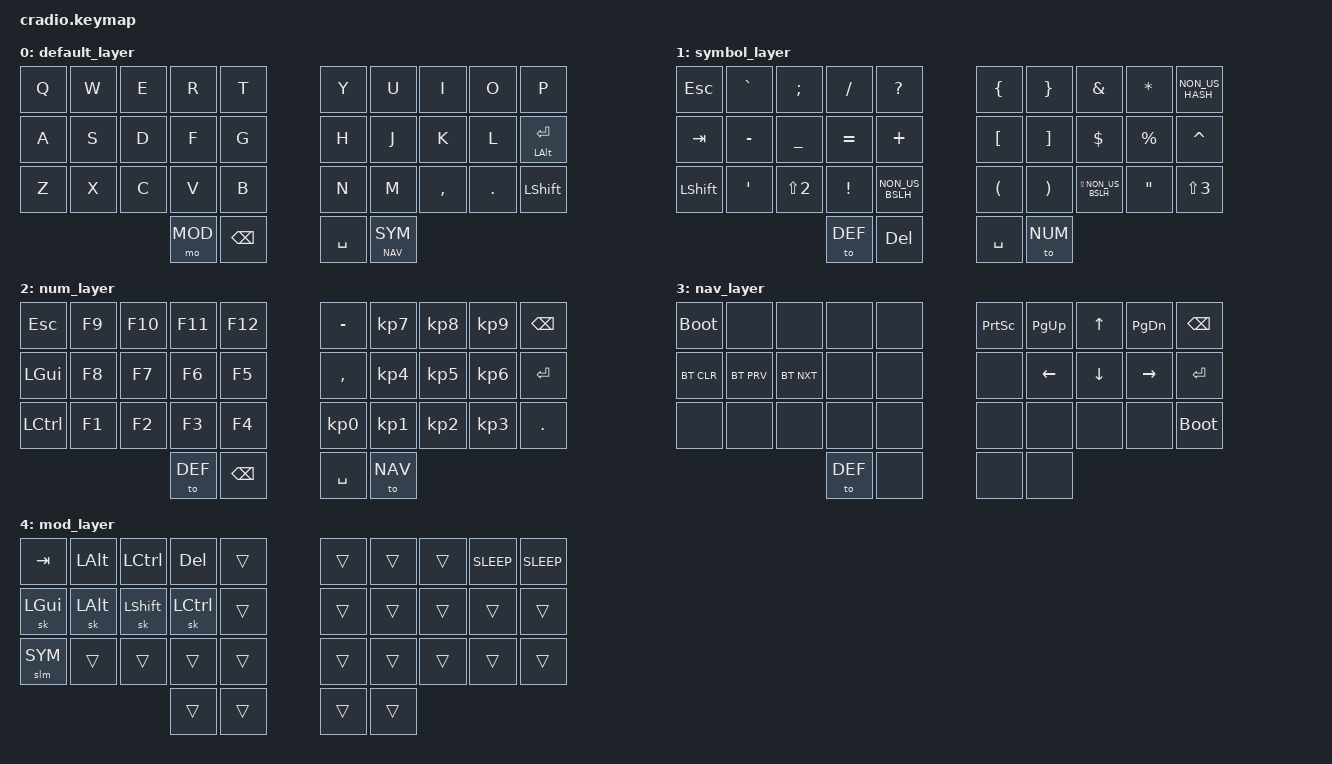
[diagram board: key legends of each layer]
/*
 * Copyright (c) 2020 The ZMK Contributors
 *
 * SPDX-License-Identifier: MIT
 */

#include <behaviors.dtsi>
#include <dt-bindings/zmk/keys.h>
#include <dt-bindings/zmk/bt.h>

#define DEF 0
#define SYM 1
#define NUM 2
#define NAV 3
#define MOD 4 

/ {
        behaviors {        
                Z_OSLSYM: tap_dance_0 {            
                        compatible = "zmk,behavior-tap-dance";            
                        label = "TAP_DANCE_OSLSYM";            
                        #binding-cells = <0>;            
                        tapping-term-ms = <200>;            
                        bindings = <&kp Z>, <&slm SYM>;        
                };    

                ly: layers {
                        compatible = "zmk,behavior-hold-tap";
                        label = "LAYERS TAP HOLD";
                        #binding-cells = <2>;
                        tapping-term-ms = <150>;
                        quick-tap-ms = <0>;
                        flavor = "tap-preferred";
                        bindings = <&mo>, <&to>;
                };

                slm: behavior_sticky_layer {
			compatible = "zmk,behavior-sticky-key";
			label = "STICKY_LAYER";
			#binding-cells = <1>;
			release-after-ms = <1000>;
			bindings = <&mo>;
			ignore-modifiers;
		};
        };

        combos {
                compatible = "zmk,combos";

                // both left thumb keys
                combo_OSLSYM {
                        timeout-ms = <200>;
                        key-positions = <30 31>;
                        bindings = <&slm SYM>;
                };
        };

        keymap {
                compatible = "zmk,keymap";

                default_layer {
// -----------------------------------------------------------------------------------------
// |  Q  |  W  |  E  |  R  |  T  |   |  Y  |  U   |  I  |  O  |  P  |
// |  A  |  S  |  D  |  F  |  G  |   |  H  |  J   |  K  |  L  |  ENTER |
// |  Z  |  X  |  C  |  V  |  B  |   |  N  |  M   |  ,  |  .  |  SHFT  |
//                   | MOD | BKSP|   | SPC | SYMNAV |
                        bindings = <
   &kp Q      &kp W &kp E &kp R &kp T   &kp Y &kp U  &kp I     &kp O   &kp P
   &kp A      &kp S &kp D &kp F &kp G   &kp H &kp J  &kp K     &kp L   &mt LALT ENTER
   &kp Z      &kp X &kp C &kp V &kp B   &kp N &kp M  &kp COMMA &kp DOT &kp LSHIFT
                          &mo MOD &kp BSPC   &kp SPACE &ly NAV SYM
                        >;
                };

                symbol_layer {
// -----------------------------------------------------------------------------------------
// | ESC |  `  |  ;  |  /  |  ?  |   |  {  |  }  |  &  |  *  |  #  |
// | TAB |  -  |  _  |  =  |  +  |   |  [  |  ]  |  $  |  %  |  ^  |
// | SHFT|  '  |  "  |  !  |  \  |   |  (  |  )  |  |  |  @  |  £  |
//                   | DEF | DEL |   | ENT | ALT |
                        bindings = <
   &kp ESC      &kp GRAVE  &kp SEMI   &kp FSLH   &kp QMARK        &kp LBRC   &kp RBRC   &kp AMPS              &kp STAR    &kp NON_US_HASH
   &kp TAB      &kp MINUS  &kp UNDER  &kp EQUAL  &kp PLUS         &kp LBKT   &kp RBKT   &kp DOLLAR            &kp PERCENT &kp CARET
   &kp LSHIFT   &kp APOS   &kp LS(N2) &kp EXCL   &kp NON_US_BSLH  &kp LPAR   &kp RPAR   &kp LS(NON_US_BSLH)   &kp DQT    &kp LS(N3)
                          	          &to DEF    &kp DEL          &kp SPACE  &to NUM
                        >;
                };

                num_layer {
// -----------------------------------------------------------------------------------------
// | ESC  |  F9  |  F10  |  F11  |  F12  |   |  MINUS  |  KP_N7  |  KP_N8  |  KP_N9  |  BSPC  |
// | LGUI |  F8  |  F7   |  F6   |  F5   |   |  COMMA  |  KP_N4  |  KP_N5  |  KP_N6  |  ENTER |
// | LCTRL|  F1  |  F2   |  F3   |  F4   |   |  KP_N0  |  KP_N1  |  KP_N2  |  KP_N3  |  DOT   |
//                       | DEF   |  BKSP |   |  SPC    |  NAV    |
                        bindings = <
   &kp ESC    &kp F9   &kp F10   &kp F11   &kp F12     &kp MINUS   &kp KP_N7  &kp KP_N8  &kp KP_N9  &kp BSPC 
   &kp LGUI   &kp F8   &kp F7    &kp F6    &kp F5      &kp COMMA   &kp KP_N4  &kp KP_N5  &kp KP_N6  &kp ENTER
   &kp LCTRL  &kp F1   &kp F2    &kp F3    &kp F4      &kp KP_N0   &kp KP_N1  &kp KP_N2  &kp KP_N3  &kp DOT  
                                 &to DEF   &kp BSPC    &kp SPACE   &to NAV
                        >;
                };

                nav_layer {
// -----------------------------------------------------------------------------------------
// | RESET  |        |        |    |    |   |  PSCRN  |  PG_UP  |  UP    |  PG_DN  |  BSPC  |
// | BT CLR | BT PRV | BT NXT |    |    |   |         |  LEFT   |  DOWN  |  RIGHT  |  ENTER |
// |        |        |        |    |    |   |         |         |        |         |  RESET |
//                            | DEF|    |   |         |         |
                        bindings = <
   &bootloader  &none        &none   &none   &none     &kp PSCRN   &kp PG_UP  &kp UP    &kp PG_DN  &kp BSPC
   &bt BT_CLR   &bt BT_PRV   &bt BT_NXT   &none   &none     &none       &kp LEFT   &kp DOWN  &kp RIGHT  &kp ENTER
   &none        &none        &none   &none   &none     &none       &none      &none     &none      &bootloader
                    	             &to DEF &none     &none       &none
                        >;
                };

                mod_layer {
// -----------------------------------------------------------------------------------------
// | TAB     |  ALT     |  CTRL     |  DEL       |    |   |   |   |   | K_SLEEP  | C_SLEEP  |
// | SK LGUI |  SK ALT  |  SK SHFT  |  SK LCTRL  |    |   |   |   |   |          |          |
// |         |          |           |            |    |   |   |   |   |          |          |
//                      |           |            |    |   |   |
                        bindings = <
   &kp TAB   &kp LALT   &kp LCTRL   &kp DEL     &trans    &trans  &trans  &trans  &kp K_SLEEP  &kp C_SLEEP
   &sk LGUI  &sk LALT   &sk LSHFT   &sk LCTRL   &trans    &trans  &trans  &trans  &trans       &trans     
   &slm SYM  &trans     &trans      &trans      &trans    &trans  &trans  &trans  &trans       &trans     
                    	            &trans      &trans    &trans  &trans
                        >;
                };
        };
};
